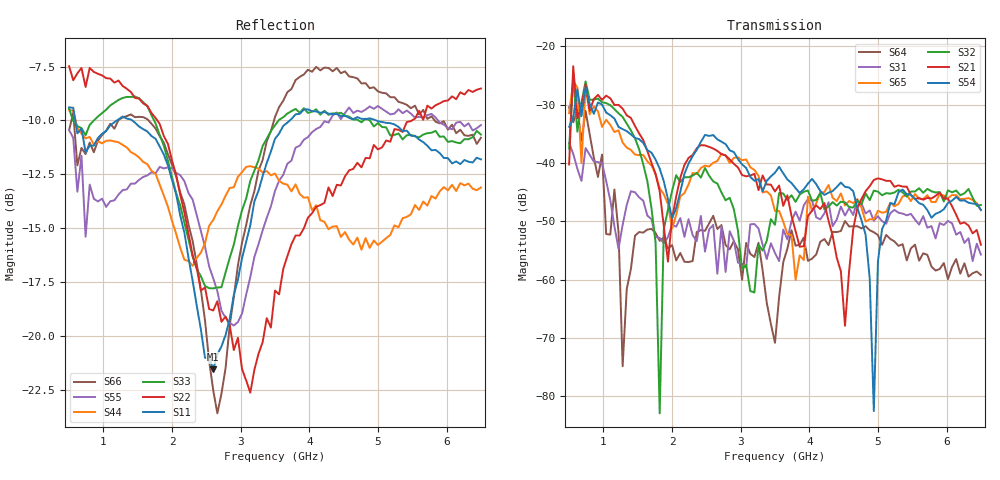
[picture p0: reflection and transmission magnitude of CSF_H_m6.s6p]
!Keysight Technologies,M9804A,MY58100912,A.14.10.03
!Date: Thursday, April 27, 2023 10:28:33
!Correction: S11(C  6-Port  )
!S12(C  6-Port  )
!S13(C  6-Port  )
!S14(C  6-Port  )
!S15(C  6-Port  )
!S16(C  6-Port  )
!S21(C  6-Port  )
!S22(C  6-Port  )
!S23(C  6-Port  )
!S24(C  6-Port  )
!S25(C  6-Port  )
!S26(C  6-Port  )
!S31(C  6-Port  )
!S32(C  6-Port  )
!S33(C  6-Port  )
!S34(C  6-Port  )
!S35(C  6-Port  )
!S36(C  6-Port  )
!S41(C  6-Port  )
!S42(C  6-Port  )
!S43(C  6-Port  )
!S44(C  6-Port  )
!S45(C  6-Port  )
!S46(C  6-Port  )
!S51(C  6-Port  )
!S52(C  6-Port  )
!S53(C  6-Port  )
!S54(C  6-Port  )
!S55(C  6-Port  )
!S56(C  6-Port  )
!S61(C  6-Port  )
!S62(C  6-Port  )
!S63(C  6-Port  )
!S64(C  6-Port  )
!S65(C  6-Port  )
!S66(C  6-Port  )
!S6P File: Measurement: :
# Hz S  RI  R 50
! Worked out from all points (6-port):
!   101 points, 500 MHz to 6.5 GHz, reference 50 ohm
!   strongest paths, dB at 500 MHz, 2 GHz, 3.5 GHz, 5 GHz, 6.5 GHz:
!     S54: -33.8, -49.5, -41.6, -56.9, -48.0
!     S21: -40.2, -49.6, -44.9, -42.6, -54.0
!     S32: -37.5, -44.8, -50.6, -44.9, -47.2
!     S65: -31.4, -51.3, -48.2, -48.2, -48.1
!     S31: -36.6, -50.6, -55.4, -49.1, -55.7
!     S64: -30.4, -54.1, -70.8, -52.3, -59.2
!   lowest |S11| = -21.5 dB at 2.6 GHz (marker M1), VSWR 1.18, Z = 42.5 + j2.16 ohm
!   |S11| at or under -10 dB: 589.6 MHz to 1.197 GHz (607.3 MHz wide, 68 % of centre); 1.419 GHz to 3.716 GHz (2.296 GHz wide, 89.4 % of centre); 4.974 GHz to end of sweep
